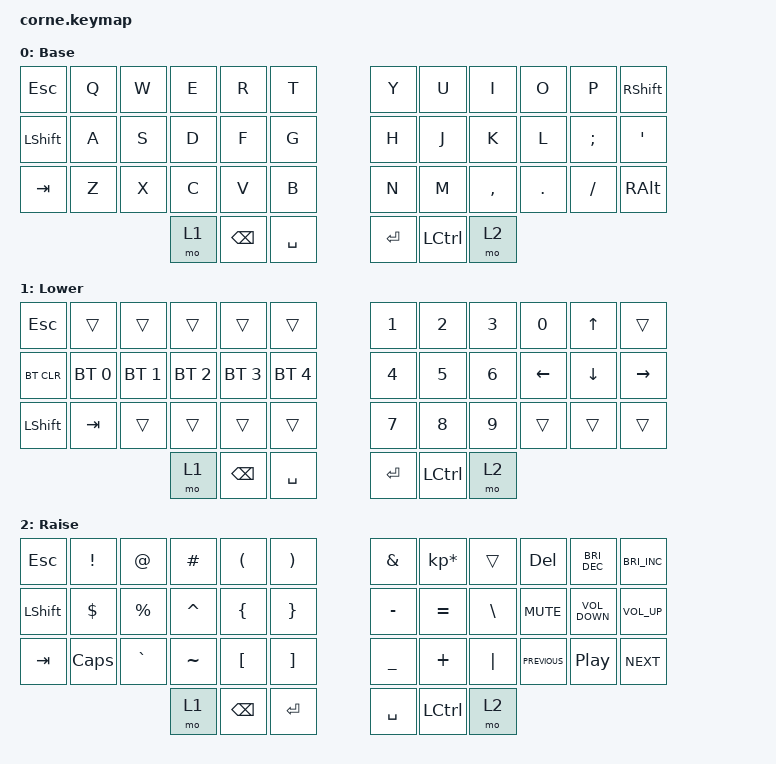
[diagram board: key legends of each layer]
/*
 * Copyright (c) 2020 The ZMK Contributors
 *
 * SPDX-License-Identifier: MIT
 */

#include <behaviors.dtsi>
#include <dt-bindings/zmk/bt.h>
#include <dt-bindings/zmk/keys.h>

/ {
    keymap {
        compatible = "zmk,keymap";

        default_layer {
            // -----------------------------------------------------------------------------------------
            // |  TAB |  Q  |  W  |  E  |  R  |  T  |   |  Y  |  U   |  I  |  O  |  P  | BKSP |
            // | CTRL |  A  |  S  |  D  |  F  |  G  |   |  H  |  J   |  K  |  L  |  ;  |  '   |
            // | SHFT |  Z  |  X  |  C  |  V  |  B  |   |  N  |  M   |  ,  |  .  |  /  | ESC  |
            //                    | GUI | LWR | SPC |   | ENT | RSE  | ALT |

            display-name = "Base";
            bindings = <
&kp ESC    &kp Q  &kp W  &kp E  &kp R          &kp T        &kp Y    &kp U             &kp I      &kp O    &kp P     &kp RIGHT_SHIFT
&kp LSHFT  &kp A  &kp S  &kp D  &kp F          &kp G        &kp H    &kp J             &kp K      &kp L    &kp SEMI  &kp SQT
&kp TAB    &kp Z  &kp X  &kp C  &kp V          &kp B        &kp N    &kp M             &kp COMMA  &kp DOT  &kp FSLH  &kp RALT
                         &mo 1  &kp BACKSPACE  &kp SPACE    &kp RET  &kp LEFT_CONTROL  &mo 2
            >;
        };

        lower_layer {
            // -----------------------------------------------------------------------------------------
            // |  TAB |  1  |  2  |  3  |  4  |  5  |   |  6  |  7  |  8  |  9  |  0  | BKSP |
            // | BTCLR| BT1 | BT2 | BT3 | BT4 | BT5 |   | LFT | DWN |  UP | RGT |     |      |
            // | SHFT |     |     |     |     |     |   |     |     |     |     |     |      |
            //                    | GUI |     | SPC |   | ENT |     | ALT |

            display-name = "Lower";
            bindings = <
&kp ESC     &trans        &trans        &trans        &trans        &trans          &kp N1   &kp N2     &kp N3  &kp N0    &kp UP          &trans
&bt BT_CLR  &bt BT_SEL 0  &bt BT_SEL 1  &bt BT_SEL 2  &bt BT_SEL 3  &bt BT_SEL 4    &kp N4   &kp N5     &kp N6  &kp LEFT  &kp DOWN_ARROW  &kp RIGHT
&kp LSHFT   &kp TAB       &trans        &trans        &trans        &trans          &kp N7   &kp N8     &kp N9  &trans    &trans          &trans
                                        &mo 1         &kp BSPC      &kp SPACE       &kp RET  &kp LCTRL  &mo 2
            >;
        };

        raise_layer {
            // -----------------------------------------------------------------------------------------
            // |  TAB |  !  |  @  |  #  |  $  |  %  |   |  ^  |  &  |  *  |  (  |  )  | BKSP |
            // | CTRL |     |     |     |     |     |   |  -  |  =  |  [  |  ]  |  \  |  `   |
            // | SHFT |     |     |     |     |     |   |  _  |  +  |  {  |  }  | "|" |  ~   |
            //                    | GUI |     | SPC |   | ENT |     | ALT |

            display-name = "Raise";
            bindings = <
&kp ESC    &kp EXCL    &kp AT       &kp HASH   &kp LEFT_PARENTHESIS  &kp RIGHT_PARENTHESIS    &kp AMPS   &kp KP_MULTIPLY  &trans         &kp DEL         &kp C_BRIGHTNESS_DEC  &kp C_BRIGHTNESS_INC
&kp LSHFT  &kp DOLLAR  &kp PERCENT  &kp CARET  &kp LEFT_BRACE        &kp RIGHT_BRACE          &kp MINUS  &kp EQUAL        &kp BACKSLASH  &kp K_MUTE      &kp C_VOLUME_DOWN     &kp C_VOLUME_UP
&kp TAB    &kp CAPS    &kp GRAVE    &kp TILDE  &kp LEFT_BRACKET      &kp RIGHT_BRACKET        &kp UNDER  &kp PLUS         &kp PIPE       &kp C_PREVIOUS  &kp C_PLAY_PAUSE      &kp K_NEXT
                                    &mo 1      &kp BSPC              &kp RET                  &kp SPACE  &kp LCTRL        &mo 2
            >;
        };
    };
};
